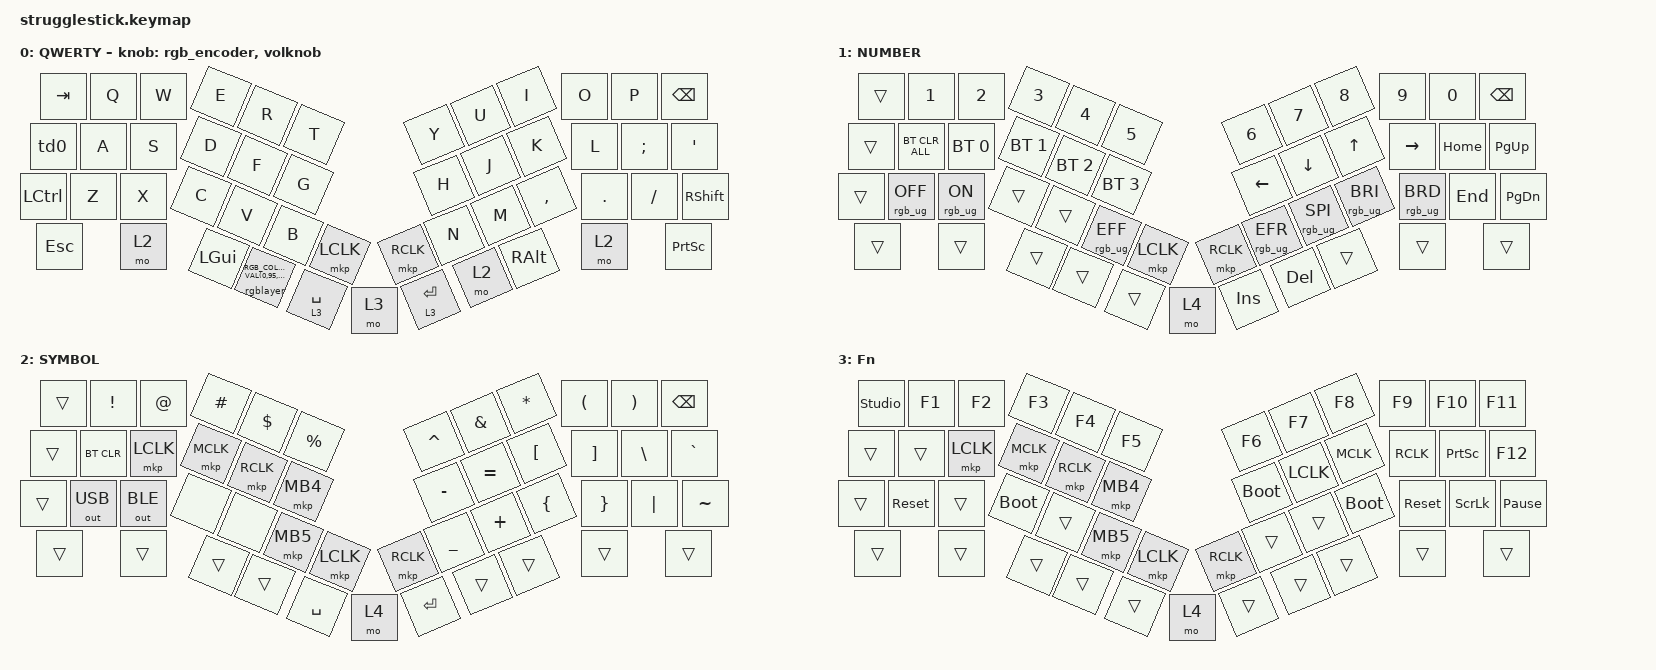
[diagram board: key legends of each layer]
/*
 * Copyright (c) 2020 The ZMK Contributors
 *
 * SPDX-License-Identifier: MIT
 */

#include <dt-bindings/zmk/mouse.h>
#include <behaviors.dtsi>
#include <dt-bindings/zmk/bt.h>
#include <dt-bindings/zmk/keys.h>
#include <dt-bindings/zmk/outputs.h>
#include <dt-bindings/zmk/pointing.h>
#include <dt-bindings/zmk/rgb.h>

/ {
    macros {
        rgblayer: rgb_layer {
            compatible = "zmk,behavior-macro-two-param";
            #binding-cells = <2>;
            bindings =
                <&macro_param_2to2 &rgb_ug RGB_COLOR_HSB_CMD MACRO_PLACEHOLDER &macro_param_1to1>,
                <&macro_press>,
                <&mo MACRO_PLACEHOLDER>,
                <&macro_pause_for_release>,
                <&macro_release>,
                <&macro_param_1to1 &mo MACRO_PLACEHOLDER>,
                <&macro_tap>,
                <&rgb_ug RGB_TOG>;
        };

        shift: with_lshift {
            compatible = "zmk,behavior-macro-one-param";
            #binding-cells = <1>;
            bindings =
                <&macro_press>,
                <&kp LSHFT>,
                <&macro_tap>,
                <&macro_param_1to1 &kp MACRO_PLACEHOLDER>,
                <&macro_release>,
                <&kp LSHFT>;
        };
    };

    behaviors {
        td0: td0 {
            compatible = "zmk,behavior-tap-dance";
            display-name = "Shift/Caps Lock Tap Dance";
            #binding-cells = <0>;
            bindings = <&kp LEFT_SHIFT>, <&kp CAPS>;
        };
    };

    volknob: volume_encoder {
        compatible = "zmk,behavior-sensor-rotate";
        #sensor-binding-cells = <0>;
        bindings = <&kp C_VOL_DN>, <&kp C_VOL_UP>;
    };

    rgb_encoder: rgb_encoder {
        compatible = "zmk,behavior-sensor-rotate";
        #sensor-binding-cells = <0>;
        bindings = <&rgb_ug RGB_BRI>, <&rgb_ug RGB_BRD>;
    };

    scroll_encoder: scroll_encoder {
        compatible = "zmk,behavior-sensor-rotate";
        #sensor-binding-cells = <0>;
        bindings = <&msc SCRL_DOWN>, <&msc SCRL_UP>;

        tap-ms = <100>;
    };

    keymap {
        compatible = "zmk,keymap";

        default_layer {
            display-name = "QWERTY";
            bindings = <
&kp TAB    &kp Q     &kp W    &kp E      &kp R                                   &kp T
&td0       &kp A     &kp S    &kp D      &kp F                                   &kp G
&kp LCTRL  &kp Z     &kp X    &kp C      &kp V                                   &kp B        &mkp LCLK
&kp ESC    &mo 2              &kp LGUI   &rgblayer RGB_COLOR_HSB_VAL(0,95,45) 1  &lt 3 SPACE  &mo 3
&kp BSPC   &kp P     &kp O    &kp I      &kp U                                   &kp Y
&kp SQT    &kp SEMI  &kp L    &kp K      &kp J                                   &kp H
&kp RSHFT  &kp FSLH  &kp DOT  &kp COMMA  &kp M                                   &kp N        &mkp RCLK
&kp PSCRN  &mo 2              &kp RALT   &mo 2                                   &lt 3 ENTER
            >;

            sensor-bindings = <&rgb_encoder>, <&volknob>;
        };

        lower_layer {
            display-name = "NUMBER";
            bindings = <
&trans     &kp N1           &kp N2           &kp N3           &kp N4           &kp N5
&trans     &bt BT_CLR_ALL   &bt BT_SEL 0     &bt BT_SEL 1     &bt BT_SEL 2     &bt BT_SEL 3
&trans     &rgb_ug RGB_OFF  &rgb_ug RGB_ON   &trans           &trans           &rgb_ug RGB_EFF  &mkp LCLK
&trans     &trans                            &trans           &trans           &trans           &mo 4
&kp BSPC   &kp N0           &kp N9           &kp N8           &kp N7           &kp N6
&kp PG_UP  &kp HOME         &kp RIGHT        &kp UP           &kp DOWN         &kp LEFT
&kp PG_DN  &kp END          &rgb_ug RGB_BRD  &rgb_ug RGB_BRI  &rgb_ug RGB_SPI  &rgb_ug RGB_EFR  &mkp RCLK
&trans     &trans                            &trans           &kp DEL          &kp INS
            >;
        };

        raise_layer {
            display-name = "SYMBOL";
            bindings = <
&trans     &kp EXCL      &kp AT        &kp HASH   &kp DLLR   &kp PRCNT
&trans     &bt BT_CLR    &mkp LCLK     &mkp MCLK  &mkp RCLK  &mkp MB4
&trans     &out OUT_USB  &out OUT_BLE  &none      &none      &mkp MB5   &mkp LCLK
&trans     &trans                      &trans     &trans     &kp SPACE  &mo 4
&kp BSPC   &kp RPAR      &kp LPAR      &kp ASTRK  &kp AMPS   &kp CARET
&kp GRAVE  &kp BSLH      &kp RBKT      &kp LBKT   &kp EQUAL  &kp MINUS
&kp TILDE  &kp PIPE      &kp RBRC      &kp LBRC   &kp PLUS   &kp UNDER  &mkp RCLK
&trans     &trans                      &trans     &trans     &kp RET
            >;
        };

        layer_3 {
            display-name = "Fn";
            bindings = <
&studio_unlock   &kp F1           &kp F2      &kp F3       &kp F4     &kp F5
&trans           &trans           &mkp LCLK   &mkp MCLK    &mkp RCLK  &mkp MB4
&trans           &sys_reset       &trans      &bootloader  &trans     &mkp MB5     &mkp LCLK
&trans           &trans                       &trans       &trans     &trans       &mo 4
&kp F11          &kp F10          &kp F9      &kp F8       &kp F7     &kp F6
&kp F12          &kp PRINTSCREEN  &kp RCLK    &kp MCLK     &kp LCLK   &bootloader
&kp PAUSE_BREAK  &kp SCROLLLOCK   &sys_reset  &bootloader  &trans     &trans       &mkp RCLK
&trans           &trans                       &trans       &trans     &trans
            >;
        };
    };
};
